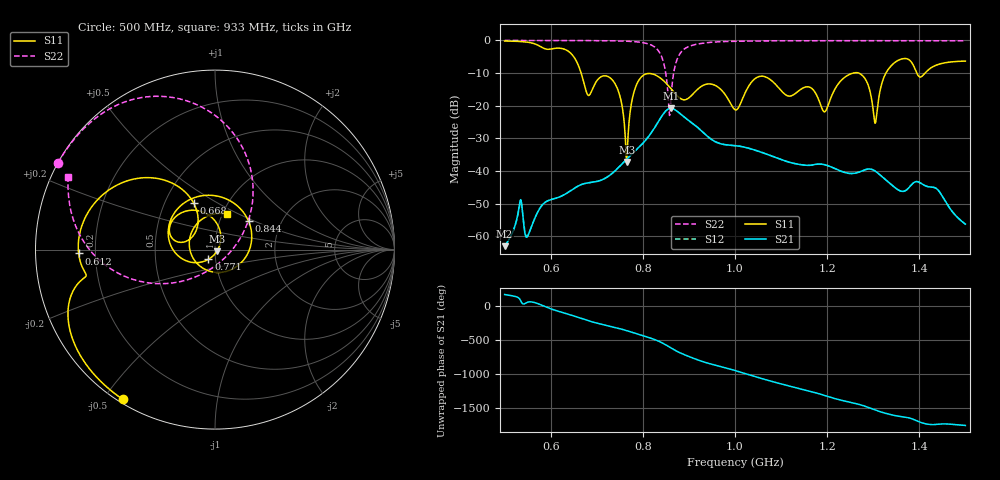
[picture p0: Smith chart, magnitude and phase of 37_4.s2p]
! TOUCHSTONE file generated by CST MICROWAVE STUDIO
! Date and time: Sat Nov 14 20:03:22 2020
! Project name: Scenario_1_Planar_Body_Tissue_Out_of_Line.cst
! Parameters = {dy1=-276.8; L_HA=400; Ltissue=700; MT=2.54; Rad_Dielectric=30; Rad_Lower=7.3; Rad_Upper=30; Wtissue=700; a_HA=580; a_WG=246; b_HA=500; b_WG=121; c_HA=0; c_WG=187; d_feed=85; dx1=693; h_feed=15; h_lower=18; h_upper=40; hfat=3; hgap=25; hmuscle=50; hskin=1.5}
! Header version: 2018
! Port assignment regex: !\s*Touchstone port\s*([0-9]+)\s*=\s*(CST MWS port|CST DS port)\s*([0-9]+|Zmin|Zmax)\s*\(\"(.*)\"\)(\s*mode\s*([0-9]+))?.*
! Touchstone port assignment:
! Touchstone port 1 = CST MWS port 1 ("")
! Touchstone port 2 = CST MWS port 2 ("")
# GHz S DB R 50
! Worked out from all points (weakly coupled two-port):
!   1003 points, 500 MHz to 1.5 GHz, reference 50 ohm
!   highest |S21| = -20.79 dB at 861 MHz (marker M1); lowest = -63.0 dB at 500 MHz (marker M2)
!   lowest |S11| = -37.2 dB at 765 MHz (marker M3), VSWR 1.03, Z = 51.1 - j0.888 ohm
!   |S11| at or under -10 dB: 666.1 MHz to 1.256 GHz (590.4 MHz wide, 61.4 % of centre); 1.269 GHz to 1.328 GHz (58.61 MHz wide, 4.52 % of centre); 1.395 GHz to 1.412 GHz (17.82 MHz wide, 1.27 % of centre)
!   |S22| runs from -23.0 to 0.0 dB; largest |S21 - S12| = 0.00042
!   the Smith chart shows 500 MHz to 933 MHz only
!   S11 on the Smith chart (normalised r, x): 500 MHz: 0.01, -0.56; 612 MHz: 0.14, -0.01; 668 MHz: 0.70, +0.39; 771 MHz: 0.92, -0.10; 844 MHz: 1.37, +0.46; 933 MHz: 1.05, +0.43
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0.5  -0.18 -121.7  -62.98 174.7  -62.98 174.7  -0.01 151.1
0.533  -0.32 -137.3  -49.57 106.2  -50.27 108.0  -0.01 149.0
0.612  -2.38 -178.4  -48.28 -63.2  -48.28 -63.2  -0.02 143.2
0.667  -10.42 114.9  -44.09 179.6  -44.09 179.6  -0.04 138.4
0.668  -10.90 114.6  -44.04 177.3  -44.04 177.3  -0.04 138.3
0.737  -12.67 112.1  -40.27 52.8  -40.27 52.8  -0.13 129.8
0.765  -37.18 -38.9  -36.33 0.7  -36.33 0.7  -0.24 124.3
0.771  -23.62 -124.3  -35.49 -11.8  -35.49 -11.8  -0.27 122.9
0.792  -12.04 173.6  -32.66 -56.0  -32.66 -56.0  -0.51 116.2
0.834  -11.12 66.7  -24.78 -154.6  -24.78 -154.6  -3.21 84.3
0.844  -12.20 40.4  -22.59 172.2  -22.59 172.2  -6.28 65.7
0.861  -14.78 -8.1  -20.79 104.3  -20.79 104.3  -17.74 -110.6
0.88  -17.63 -74.2  -22.32 35.1  -22.32 35.1  -4.17 -172.2
0.933  -13.61 71.6  -28.44 -103.9  -28.44 -103.9  -0.79 153.6
1  -21.20 -159.1  -32.19 131.1  -32.19 131.1  -0.26 140.2
1.053  -11.03 -10.5  -34.02 22.1  -34.02 22.1  -0.16 134.1
1.167  -14.74 -15.7  -38.15 177.3  -38.15 177.3  -0.09 124.2
1.195  -21.82 -161.7  -38.06 119.6  -38.06 119.6  -0.09 122.0
1.269  -10.01 3.9  -40.32 -10.3  -40.32 -10.4  -0.08 116.4
1.304  -25.36 8.2  -39.98 -93.0  -39.98 -93.0  -0.09 113.8
1.334  -8.60 33.9  -43.50 -155.2  -43.50 -155.2  -0.09 111.5
1.5  -6.33 -47.7  -56.23 38.2  -56.23 38.2  -0.13 98.0
